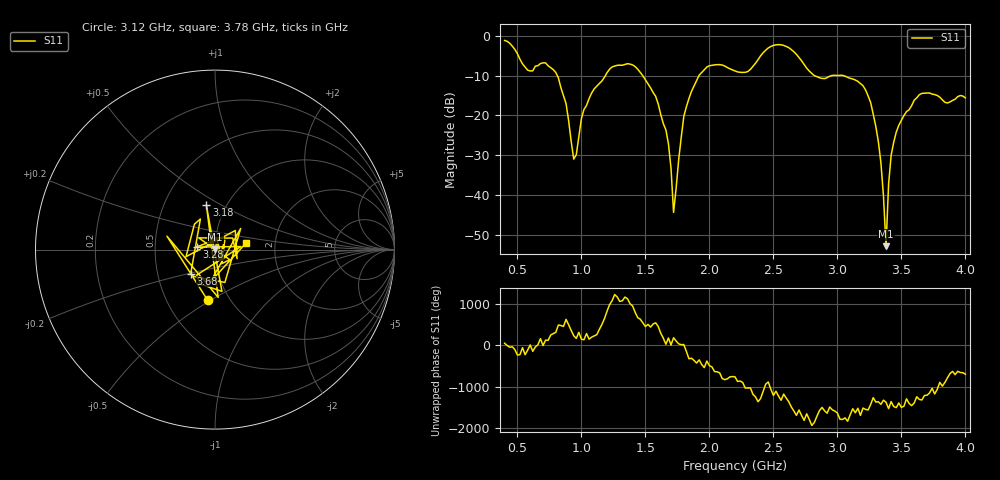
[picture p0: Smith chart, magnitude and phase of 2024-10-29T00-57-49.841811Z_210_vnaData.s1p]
!Created with skrf (http://scikit-rf.org).
# Hz S RI R 50.0
!freq ReS11 ImS11
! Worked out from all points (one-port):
!   181 points, 400 MHz to 4 GHz, reference 50 ohm
!   lowest |S11| = -52.7 dB at 3.38 GHz (marker M1), VSWR 1.00, Z = 50.1 + j0.201 ohm
!   |S11| at or under -10 dB: 811.3 MHz to 1.188 GHz (376.5 MHz wide, 37.7 % of centre); 1.478 GHz to 1.919 GHz (440.6 MHz wide, 25.9 % of centre); 3.045 GHz to end of sweep (the widest 3 of 5)
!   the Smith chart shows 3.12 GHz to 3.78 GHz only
!   S11 on the Smith chart (normalised r, x): 3.12 GHz: 0.79, -0.49; 3.18 GHz: 0.81, +0.43; 3.28 GHz: 0.81, +0.02; 3.68 GHz: 0.74, -0.20; 3.78 GHz: 1.42, +0.11
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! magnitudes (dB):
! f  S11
! 400 MHz  -1.2
! 580 MHz  -8.7
! 780 MHz  -8.5
! 860 MHz  -15.1
! 940 MHz  -30.9
! 1.08 GHz  -14.4
! 1.3 GHz  -7.4
! 1.58 GHz  -15.2
! 1.68 GHz  -27.1
! 1.72 GHz  -44.3
! 1.76 GHz  -31.1
! 1.8 GHz  -20.2
! 1.92 GHz  -9.9
! 2.2 GHz  -8.9
! 2.66 GHz  -4.0
! 2.82 GHz  -10.0
! 3.1 GHz  -10.7
! 3.12 GHz  -10.9
! 3.18 GHz  -12.0
! 3.28 GHz  -19.7
! 3.34 GHz  -31.8
! 3.38 GHz  -52.7
! 3.4 GHz  -37.2
! 3.42 GHz  -29.9
! 3.56 GHz  -18.6
! 3.68 GHz  -14.4
! 3.78 GHz  -15.0
! 4 GHz  -15.6
